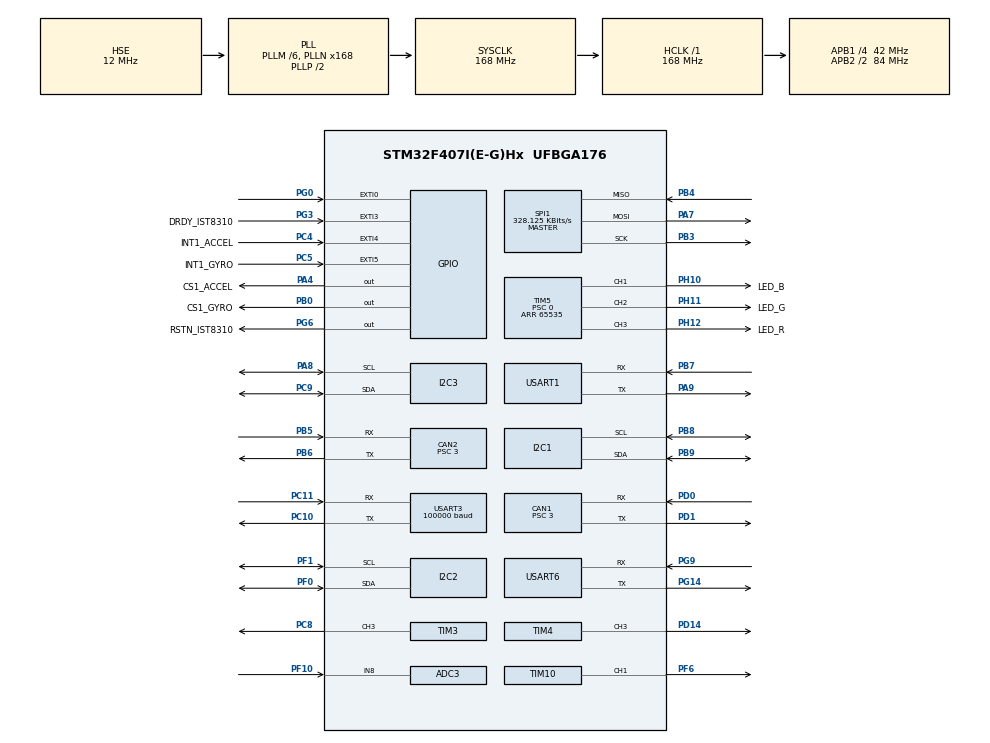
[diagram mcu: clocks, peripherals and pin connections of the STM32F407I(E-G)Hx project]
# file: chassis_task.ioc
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ADC1.Channel-0\#ChannelRegularConversion=ADC_CHANNEL_TEMPSENSOR
ADC1.NbrOfConversion=1
ADC1.NbrOfConversionFlag=1
ADC1.Rank-0\#ChannelRegularConversion=1
ADC1.SamplingTime-0\#ChannelRegularConversion=ADC_SAMPLETIME_3CYCLES
ADC1.master=1
ADC3.Channel-0\#ChannelRegularConversion=ADC_CHANNEL_8
ADC3.NbrOfConversionFlag=1
ADC3.Rank-0\#ChannelRegularConversion=1
ADC3.SamplingTime-0\#ChannelRegularConversion=ADC_SAMPLETIME_3CYCLES
CAN1.BS1=CAN_BS1_10TQ
CAN1.BS2=CAN_BS2_3TQ
CAN1.CalculateBaudRate=1000000
CAN1.CalculateTimeQuantum=71.42857142857143
CAN1.Prescaler=3
CAN2.BS1=CAN_BS1_10TQ
CAN2.BS2=CAN_BS2_3TQ
CAN2.CalculateBaudRate=1000000
CAN2.CalculateTimeQuantum=71.42857142857143
CAN2.Prescaler=3
Dma.Request0=SPI1_RX
Dma.Request1=SPI1_TX
Dma.Request2=USART3_RX
Dma.Request3=USART6_RX
Dma.Request4=USART6_TX
Dma.Request5=USART1_TX
Dma.SPI1_RX.0.Direction=DMA_PERIPH_TO_MEMORY
Dma.SPI1_RX.0.FIFOMode=DMA_FIFOMODE_DISABLE
Dma.SPI1_RX.0.Instance=DMA2_Stream2
Dma.SPI1_RX.0.MemDataAlignment=DMA_MDATAALIGN_BYTE
Dma.SPI1_RX.0.MemInc=DMA_MINC_ENABLE
Dma.SPI1_RX.0.Mode=DMA_NORMAL
Dma.SPI1_RX.0.PeriphDataAlignment=DMA_PDATAALIGN_BYTE
Dma.SPI1_RX.0.PeriphInc=DMA_PINC_DISABLE
Dma.SPI1_RX.0.Priority=DMA_PRIORITY_VERY_HIGH
Dma.SPI1_TX.1.Direction=DMA_MEMORY_TO_PERIPH
Dma.SPI1_TX.1.FIFOMode=DMA_FIFOMODE_DISABLE
Dma.SPI1_TX.1.Instance=DMA2_Stream3
Dma.SPI1_TX.1.MemDataAlignment=DMA_MDATAALIGN_BYTE
Dma.SPI1_TX.1.MemInc=DMA_MINC_ENABLE
Dma.SPI1_TX.1.Mode=DMA_NORMAL
Dma.SPI1_TX.1.PeriphDataAlignment=DMA_PDATAALIGN_BYTE
Dma.SPI1_TX.1.PeriphInc=DMA_PINC_DISABLE
Dma.SPI1_TX.1.Priority=DMA_PRIORITY_HIGH
Dma.USART1_TX.5.Direction=DMA_MEMORY_TO_PERIPH
Dma.USART1_TX.5.FIFOMode=DMA_FIFOMODE_DISABLE
Dma.USART1_TX.5.Instance=DMA2_Stream7
Dma.USART1_TX.5.MemDataAlignment=DMA_MDATAALIGN_BYTE
Dma.USART1_TX.5.MemInc=DMA_MINC_ENABLE
Dma.USART1_TX.5.Mode=DMA_NORMAL
Dma.USART1_TX.5.PeriphDataAlignment=DMA_PDATAALIGN_BYTE
Dma.USART1_TX.5.PeriphInc=DMA_PINC_DISABLE
Dma.USART1_TX.5.Priority=DMA_PRIORITY_MEDIUM
Dma.USART3_RX.2.Direction=DMA_PERIPH_TO_MEMORY
Dma.USART3_RX.2.FIFOMode=DMA_FIFOMODE_DISABLE
Dma.USART3_RX.2.Instance=DMA1_Stream1
Dma.USART3_RX.2.MemDataAlignment=DMA_MDATAALIGN_BYTE
Dma.USART3_RX.2.MemInc=DMA_MINC_ENABLE
Dma.USART3_RX.2.Mode=DMA_NORMAL
Dma.USART3_RX.2.PeriphDataAlignment=DMA_PDATAALIGN_BYTE
Dma.USART3_RX.2.PeriphInc=DMA_PINC_DISABLE
Dma.USART3_RX.2.Priority=DMA_PRIORITY_HIGH
Dma.USART6_RX.3.Direction=DMA_PERIPH_TO_MEMORY
Dma.USART6_RX.3.FIFOMode=DMA_FIFOMODE_DISABLE
Dma.USART6_RX.3.Instance=DMA2_Stream1
Dma.USART6_RX.3.MemDataAlignment=DMA_MDATAALIGN_BYTE
Dma.USART6_RX.3.MemInc=DMA_MINC_ENABLE
Dma.USART6_RX.3.Mode=DMA_NORMAL
Dma.USART6_RX.3.PeriphDataAlignment=DMA_PDATAALIGN_BYTE
Dma.USART6_RX.3.PeriphInc=DMA_PINC_DISABLE
Dma.USART6_RX.3.Priority=DMA_PRIORITY_HIGH
Dma.USART6_TX.4.Direction=DMA_MEMORY_TO_PERIPH
Dma.USART6_TX.4.FIFOMode=DMA_FIFOMODE_DISABLE
Dma.USART6_TX.4.Instance=DMA2_Stream6
Dma.USART6_TX.4.MemDataAlignment=DMA_MDATAALIGN_BYTE
Dma.USART6_TX.4.MemInc=DMA_MINC_ENABLE
Dma.USART6_TX.4.Mode=DMA_NORMAL
Dma.USART6_TX.4.PeriphDataAlignment=DMA_PDATAALIGN_BYTE
Dma.USART6_TX.4.PeriphInc=DMA_PINC_DISABLE
Dma.USART6_TX.4.Priority=DMA_PRIORITY_MEDIUM
FREERTOS.INCLUDE_eTaskGetState=1
FREERTOS.INCLUDE_pcTaskGetTaskName=1
FREERTOS.INCLUDE_uxTaskGetStackHighWaterMark=1
FREERTOS.INCLUDE_vTaskCleanUpResources=1
FREERTOS.INCLUDE_vTaskDelayUntil=1
FREERTOS.INCLUDE_xEventGroupSetBitFromISR=1
FREERTOS.INCLUDE_xQueueGetMutexHolder=1
FREERTOS.INCLUDE_xSemaphoreGetMutexHolder=1
FREERTOS.INCLUDE_xTaskAbortDelay=1
FREERTOS.INCLUDE_xTaskGetCurrentTaskHandle=1
FREERTOS.INCLUDE_xTaskGetHandle=1
FREERTOS.INCLUDE_xTimerPendFunctionCall=1
FREERTOS.Tasks01=test,0,128,test_task,As weak,NULL,Dynamic,NULL,NULL
FREERTOS.configTOTAL_HEAP_SIZE=24576
I2C1.I2C_Mode=I2C_Fast
I2C2.I2C_Mode=I2C_Fast
I2C3.I2C_Mode=I2C_Fast
Mcu.Family=STM32F4
Mcu.Name=STM32F407I(E-G)Hx
Mcu.Package=UFBGA176
NVIC.CAN1_RX0_IRQn=true\:6\:0\:true\:false\:true\:true\:true\:true\:true
NVIC.CAN2_RX0_IRQn=true\:6\:0\:true\:false\:true\:true\:true\:true\:true
NVIC.DMA1_Stream1_IRQn=true\:5\:0\:true\:false\:false\:true\:false\:false\:true
NVIC.DMA2_Stream1_IRQn=true\:5\:0\:false\:false\:true\:true\:false\:true\:true
NVIC.DMA2_Stream2_IRQn=true\:5\:0\:true\:false\:false\:true\:false\:true\:true
NVIC.DMA2_Stream3_IRQn=true\:5\:0\:true\:false\:false\:true\:false\:true\:true
NVIC.DMA2_Stream6_IRQn=true\:5\:0\:false\:false\:true\:true\:false\:true\:true
NVIC.DMA2_Stream7_IRQn=true\:5\:0\:false\:false\:true\:true\:false\:true\:true
NVIC.EXTI0_IRQn=true\:6\:0\:true\:false\:true\:true\:true\:true\:true
NVIC.EXTI3_IRQn=true\:5\:0\:true\:false\:true\:true\:true\:true\:true
NVIC.EXTI4_IRQn=true\:5\:0\:true\:false\:true\:true\:true\:true\:true
NVIC.EXTI9_5_IRQn=true\:5\:0\:true\:false\:true\:true\:true\:true\:true
NVIC.PriorityGroup=NVIC_PRIORITYGROUP_4
NVIC.USART1_IRQn=true\:5\:0\:false\:false\:true\:true\:true\:true\:true
NVIC.USART3_IRQn=true\:4\:0\:true\:false\:false\:false\:true\:true\:true
NVIC.USART6_IRQn=true\:5\:0\:false\:false\:true\:true\:true\:true\:true
PA13.Mode=Serial_Wire
PA13.Signal=SYS_JTMS-SWDIO
PA14.Mode=Serial_Wire
PA14.Signal=SYS_JTCK-SWCLK
PA4.GPIO_Label=CS1_ACCEL
PA4.GPIO_PuPd=GPIO_PULLUP
PA4.GPIO_Speed=GPIO_SPEED_FREQ_HIGH
PA4.PinState=GPIO_PIN_SET
PA4.Signal=GPIO_Output
PA7.GPIO_PuPd=GPIO_PULLUP
PA7.Mode=Full_Duplex_Master
PA7.Signal=SPI1_MOSI
PA8.GPIO_Pu=GPIO_PULLUP
PA8.Mode=I2C
PA8.Signal=I2C3_SCL
PA9.Mode=Asynchronous
PA9.Signal=USART1_TX
PB0.GPIO_Label=CS1_GYRO
PB0.GPIO_PuPd=GPIO_PULLUP
PB0.GPIO_Speed=GPIO_SPEED_FREQ_HIGH
PB0.PinState=GPIO_PIN_SET
PB0.Signal=GPIO_Output
PB3.GPIO_PuPd=GPIO_PULLUP
PB3.Mode=Full_Duplex_Master
PB3.Signal=SPI1_SCK
PB4.GPIO_PuPd=GPIO_PULLUP
PB4.Mode=Full_Duplex_Master
PB4.Signal=SPI1_MISO
PB5.Mode=CAN_Activate
PB5.Signal=CAN2_RX
PB6.Mode=CAN_Activate
PB6.Signal=CAN2_TX
PB7.Mode=Asynchronous
PB7.Signal=USART1_RX
PB8.Mode=I2C
PB8.Signal=I2C1_SCL
PB9.Mode=I2C
PB9.Signal=I2C1_SDA
PC10.Mode=Asynchronous
PC10.Signal=USART3_TX
PC11.Mode=Asynchronous
PC11.Signal=USART3_RX
PC4.GPIO_Label=INT1_ACCEL
PC4.GPIO_ModeDefaultEXTI=GPIO_MODE_IT_FALLING
PC4.GPIO_PuPd=GPIO_PULLUP
PC4.Signal=GPXTI4
PC5.GPIO_Label=INT1_GYRO
PC5.GPIO_ModeDefaultEXTI=GPIO_MODE_IT_FALLING
PC5.GPIO_PuPd=GPIO_PULLUP
PC5.Signal=GPXTI5
PC8.GPIO_PuPd=GPIO_PULLUP
PC8.GPIO_Speed=GPIO_SPEED_FREQ_HIGH
PC8.Signal=S_TIM3_CH3
PC9.GPIO_Pu=GPIO_PULLUP
PC9.Mode=I2C
PC9.Signal=I2C3_SDA
PD0.Mode=CAN_Activate
PD0.Signal=CAN1_RX
PD1.Mode=CAN_Activate
PD1.Signal=CAN1_TX
PD14.GPIO_PuPd=GPIO_PULLUP
PD14.GPIO_Speed=GPIO_SPEED_FREQ_HIGH
PD14.Signal=S_TIM4_CH3
PF0.GPIO_Pu=GPIO_PULLUP
PF0.Mode=I2C
PF0.Signal=I2C2_SDA
PF1.GPIO_Pu=GPIO_PULLUP
PF1.Mode=I2C
PF1.Signal=I2C2_SCL
PF10.Mode=IN8
PF10.Signal=ADC3_IN8
PF6.GPIO_PuPd=GPIO_PULLUP
PF6.GPIO_Speed=GPIO_SPEED_FREQ_HIGH
PF6.Signal=S_TIM10_CH1
PG0.GPIO_ModeDefaultEXTI=GPIO_MODE_IT_FALLING
PG0.GPIO_PuPd=GPIO_PULLUP
PG0.Signal=GPXTI0
PG14.Mode=Asynchronous
PG14.Signal=USART6_TX
PG3.GPIO_Label=DRDY_IST8310
PG3.GPIO_ModeDefaultEXTI=GPIO_MODE_IT_FALLING
PG3.GPIO_PuPd=GPIO_PULLUP
PG3.Signal=GPXTI3
PG6.GPIO_Label=RSTN_IST8310
PG6.GPIO_PuPd=GPIO_PULLUP
PG6.GPIO_Speed=GPIO_SPEED_FREQ_MEDIUM
PG6.PinState=GPIO_PIN_SET
PG6.Signal=GPIO_Output
PG9.Mode=Asynchronous
PG9.Signal=USART6_RX
PH0-OSC_IN.Mode=HSE-External-Oscillator
PH0-OSC_IN.Signal=RCC_OSC_IN
PH1-OSC_OUT.Mode=HSE-External-Oscillator
PH1-OSC_OUT.Signal=RCC_OSC_OUT
PH10.GPIO_Label=LED_B
PH10.GPIO_PuPd=GPIO_PULLUP
PH10.GPIO_Speed=GPIO_SPEED_FREQ_HIGH
PH10.Signal=S_TIM5_CH1
PH11.GPIO_Label=LED_G
PH11.GPIO_PuPd=GPIO_PULLUP
PH11.GPIO_Speed=GPIO_SPEED_FREQ_HIGH
PH11.Signal=S_TIM5_CH2
PH12.GPIO_Label=LED_R
PH12.GPIO_PuPd=GPIO_PULLUP
PH12.GPIO_Speed=GPIO_SPEED_FREQ_HIGH
PH12.Signal=S_TIM5_CH3
ProjectManager.HeapSize=0x2000
ProjectManager.StackSize=0x2000
ProjectManager.TargetToolchain=MDK-ARM V5
RCC.48MHZClocksFreq_Value=48000000
RCC.AHBFreq_Value=168000000
RCC.APB1CLKDivider=RCC_HCLK_DIV4
RCC.APB1Freq_Value=42000000
RCC.APB1TimFreq_Value=84000000
RCC.APB2CLKDivider=RCC_HCLK_DIV2
RCC.APB2Freq_Value=84000000
RCC.APB2TimFreq_Value=168000000
RCC.CortexFreq_Value=168000000
RCC.HCLKFreq_Value=168000000
RCC.HSE_VALUE=12000000
RCC.HSI_VALUE=16000000
RCC.LSE_VALUE=32768
RCC.PLLM=6
RCC.PLLN=168
RCC.PLLQ=7
RCC.PLLSourceVirtual=RCC_PLLSOURCE_HSE
RCC.RCC_RTC_Clock_SourceVirtual=RCC_RTCCLKSOURCE_HSE_DIV30
RCC.RCC_RTC_Clock_Source_FROM_HSE=RCC_RTCCLKSOURCE_HSE_DIV30
RCC.SYSCLKFreq_VALUE=168000000
RCC.SYSCLKSource=RCC_SYSCLKSOURCE_PLLCLK
RCC.VCOOutputFreq_Value=336000000
RTC.AsynchPrediv=124
RTC.SynchPrediv=3199
SH.S_TIM10_CH1.0=TIM10_CH1,PWM Generation1 CH1
SH.S_TIM3_CH3.0=TIM3_CH3,PWM Generation3 CH3
SH.S_TIM4_CH3.0=TIM4_CH3,PWM Generation3 CH3
SH.S_TIM5_CH1.0=TIM5_CH1,PWM Generation1 CH1
SH.S_TIM5_CH2.0=TIM5_CH2,PWM Generation2 CH2
SH.S_TIM5_CH3.0=TIM5_CH3,PWM Generation3 CH3
SPI1.BaudRatePrescaler=SPI_BAUDRATEPRESCALER_256
SPI1.CLKPhase=SPI_PHASE_2EDGE
SPI1.CLKPolarity=SPI_POLARITY_HIGH
SPI1.CalculateBaudRate=328.125 KBits/s
SPI1.Direction=SPI_DIRECTION_2LINES
SPI1.Mode=SPI_MODE_MASTER
SPI1.VirtualType=VM_MASTER
TIM10.Channel=TIM_CHANNEL_1
TIM10.Period=4999
TIM3.Channel-PWM\ Generation3\ CH3=TIM_CHANNEL_3
TIM3.Period=8399
TIM4.Channel-PWM\ Generation3\ CH3=TIM_CHANNEL_3
TIM4.Period=65535
TIM4.Prescaler=167
TIM5.Channel-PWM\ Generation1\ CH1=TIM_CHANNEL_1
TIM5.Channel-PWM\ Generation2\ CH2=TIM_CHANNEL_2
TIM5.Channel-PWM\ Generation3\ CH3=TIM_CHANNEL_3
TIM5.Period=65535
TIM5.Prescaler=0
TIM8.Period=19999
TIM8.Prescaler=167
USART1.VirtualMode=VM_ASYNC
USART3.BaudRate=100000
USART3.Parity=PARITY_EVEN
USART3.VirtualMode=VM_ASYNC
USART6.VirtualMode=VM_ASYNC
VP_ADC1_TempSens_Input.Mode=IN-TempSens
VP_ADC1_Vref_Input.Mode=IN-Vrefint
VP_FREERTOS_VS_CMSIS_V1.Mode=CMSIS_V1
VP_RTC_VS_RTC_Activate.Mode=RTC_Enabled
VP_TIM10_VS_ClockSourceINT.Mode=Enable_Timer
VP_TIM3_VS_ClockSourceINT.Mode=Internal
VP_TIM4_VS_ClockSourceINT.Mode=Internal
VP_TIM5_VS_ClockSourceINT.Mode=Internal
VP_TIM8_VS_ClockSourceINT.Mode=Internal
board=custom

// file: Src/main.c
/* USER CODE BEGIN Header */
/**
  ******************************************************************************
  * @file           : main.c
  * @brief          : Main program body
  ******************************************************************************
  * @attention
  *
  * <h2><center>&copy; Copyright (c) 2019 STMicroelectronics.
  * All rights reserved.</center></h2>
  *
  * This software component is licensed by ST under Ultimate Liberty license
  * SLA0044, the "License"; You may not use this file except in compliance with
  * the License. You may obtain a copy of the License at:
  *                             www.st.com/SLA0044
  *
  ******************************************************************************
  */
/* USER CODE END Header */
#include "main.h"
#include "cmsis_os.h"
#include "adc.h"
#include "can.h"
#include "dma.h"
#include "i2c.h"
#include "rtc.h"
#include "spi.h"
#include "tim.h"
#include "usart.h"
#include "gpio.h"

/* USER CODE BEGIN Includes */
#include "bsp_can.h"
#include "bsp_delay.h"
#include "remote_control.h"

#include "calibrate_task.h"
#include "chassis_task.h"
#include "detect_task.h"
#include "INS_task.h"
#include "led_flow_task.h"
/* USER CODE END Includes */

void SystemClock_Config(void);
void MX_FREERTOS_Init(void);

int main(void)
{

  /* MCU Configuration--------------------------------------------------------*/

  /* Reset of all peripherals, Initializes the Flash interface and the Systick. */

  HAL_Init();

  /* Configure the system clock */
  SystemClock_Config();

  /* Initialize all configured peripherals */
  MX_GPIO_Init();
  MX_DMA_Init();
  MX_CAN1_Init();
  MX_CAN2_Init();
  MX_SPI1_Init();
  MX_TIM4_Init();
  MX_TIM5_Init();
  MX_USART3_UART_Init();
  MX_TIM8_Init();
  MX_I2C3_Init();
  MX_RTC_Init();
  MX_TIM3_Init();
  MX_TIM10_Init();
  MX_USART1_UART_Init();
  MX_USART6_UART_Init();
  MX_ADC1_Init();
  MX_ADC3_Init();
  MX_I2C2_Init();
  MX_I2C1_Init();
  /* USER CODE BEGIN 2 */
    can_filter_init();
    delay_init();
    cali_param_init();
    remote_control_init();
  /* USER CODE END 2 */

  /* Call init function for freertos objects (in cmsis_os2.c) */
  MX_FREERTOS_Init();

  /* Start scheduler */
  osKernelStart();

  /* We should never get here as control is now taken by the scheduler */

  /* Infinite loop */
  while (1)
  {

  }
}

void SystemClock_Config(void)
{
  RCC_OscInitTypeDef RCC_OscInitStruct = {0};
  RCC_ClkInitTypeDef RCC_ClkInitStruct = {0};

  /** Configure the main internal regulator output voltage
  */
  __HAL_RCC_PWR_CLK_ENABLE();
  __HAL_PWR_VOLTAGESCALING_CONFIG(PWR_REGULATOR_VOLTAGE_SCALE1);

  /** Initializes the RCC Oscillators according to the specified parameters
  * in the RCC_OscInitTypeDef structure.
  */
  RCC_OscInitStruct.OscillatorType = RCC_OSCILLATORTYPE_HSE;
  RCC_OscInitStruct.HSEState = RCC_HSE_ON;
  RCC_OscInitStruct.PLL.PLLState = RCC_PLL_ON;
  RCC_OscInitStruct.PLL.PLLSource = RCC_PLLSOURCE_HSE;
  RCC_OscInitStruct.PLL.PLLM = 6;
  RCC_OscInitStruct.PLL.PLLN = 168;
  RCC_OscInitStruct.PLL.PLLP = RCC_PLLP_DIV2;
  RCC_OscInitStruct.PLL.PLLQ = 7;
  if (HAL_RCC_OscConfig(&RCC_OscInitStruct) != HAL_OK)
  {
    Error_Handler();
  }

  /** Initializes the CPU, AHB and APB buses clocks
  */
  RCC_ClkInitStruct.ClockType = RCC_CLOCKTYPE_HCLK|RCC_CLOCKTYPE_SYSCLK
                              |RCC_CLOCKTYPE_PCLK1|RCC_CLOCKTYPE_PCLK2;
  RCC_ClkInitStruct.SYSCLKSource = RCC_SYSCLKSOURCE_PLLCLK;
  RCC_ClkInitStruct.AHBCLKDivider = RCC_SYSCLK_DIV1;
  RCC_ClkInitStruct.APB1CLKDivider = RCC_HCLK_DIV4;
  RCC_ClkInitStruct.APB2CLKDivider = RCC_HCLK_DIV2;

  if (HAL_RCC_ClockConfig(&RCC_ClkInitStruct, FLASH_LATENCY_5) != HAL_OK)
  {
    Error_Handler();
  }
}

void Error_Handler(void)
{
}

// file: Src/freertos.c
/* USER CODE BEGIN Header */
/**
  ******************************************************************************
  * File Name          : freertos.c
  * Description        : Code for freertos applications
  ******************************************************************************
  * @attention
  *
  * <h2><center>&copy; Copyright (c) 2019 STMicroelectronics.
  * All rights reserved.</center></h2>
  *
  * This software component is licensed by ST under Ultimate Liberty license
  * SLA0044, the "License"; You may not use this file except in compliance with
  * the License. You may obtain a copy of the License at:
  *                             www.st.com/SLA0044
  *
  ******************************************************************************
  */
/* USER CODE END Header */

#include "FreeRTOS.h"
#include "task.h"
#include "main.h"
#include "cmsis_os.h"

/* USER CODE BEGIN Includes */

#include "calibrate_task.h"
#include "chassis_task.h"
#include "detect_task.h"
#include "INS_task.h"
#include "led_flow_task.h"
#include "gimbal_task.h"
#include "referee_usart_task.h"
#include "Can_task.h"
#include "CAN_receive.h"
#include "voltage_task.h"
#include "oled_task.h"
/* USER CODE END Includes */

/* USER CODE BEGIN PTD */

osThreadId calibrate_tast_handle;
osThreadId chassisTaskHandle;
osThreadId detect_handle;
osThreadId imuTaskHandle;
osThreadId led_RGB_flow_handle;
osThreadId gimbalTaskHandle;
osThreadId referee_usart_task_handle;
osThreadId can_task_handle;
osThreadId can_tx_task_handle;
osThreadId battery_voltage_handle;
osThreadId oled_handle;
/* USER CODE END PTD */

osThreadId testHandle;

void test_task(void const * argument);

void MX_FREERTOS_Init(void); /* (MISRA C 2004 rule 8.1) */

/* GetIdleTaskMemory prototype (linked to static allocation support) */
void vApplicationGetIdleTaskMemory( StaticTask_t **ppxIdleTaskTCBBuffer, StackType_t **ppxIdleTaskStackBuffer, uint32_t *pulIdleTaskStackSize );

/* GetTimerTaskMemory prototype (linked to static allocation support) */
void vApplicationGetTimerTaskMemory( StaticTask_t **ppxTimerTaskTCBBuffer, StackType_t **ppxTimerTaskStackBuffer, uint32_t *pulTimerTaskStackSize );

/* USER CODE BEGIN GET_IDLE_TASK_MEMORY */
static StaticTask_t xIdleTaskTCBBuffer;
static StackType_t xIdleStack[configMINIMAL_STACK_SIZE];

void vApplicationGetIdleTaskMemory( StaticTask_t **ppxIdleTaskTCBBuffer, StackType_t **ppxIdleTaskStackBuffer, uint32_t *pulIdleTaskStackSize )
{
  *ppxIdleTaskTCBBuffer = &xIdleTaskTCBBuffer;
  *ppxIdleTaskStackBuffer = &xIdleStack[0];
  *pulIdleTaskStackSize = configMINIMAL_STACK_SIZE;
  /* place for user code */
}
/* USER CODE END GET_IDLE_TASK_MEMORY */

/* USER CODE BEGIN GET_TIMER_TASK_MEMORY */
static StaticTask_t xTimerTaskTCBBuffer;
static StackType_t xTimerStack[configTIMER_TASK_STACK_DEPTH];

void vApplicationGetTimerTaskMemory( StaticTask_t **ppxTimerTaskTCBBuffer, StackType_t **ppxTimerTaskStackBuffer, uint32_t *pulTimerTaskStackSize )
{
  *ppxTimerTaskTCBBuffer = &xTimerTaskTCBBuffer;
  *ppxTimerTaskStackBuffer = &xTimerStack[0];
  *pulTimerTaskStackSize = configTIMER_TASK_STACK_DEPTH;
  /* place for user code */
}
/* USER CODE END GET_TIMER_TASK_MEMORY */

void MX_FREERTOS_Init(void) {

  /* USER CODE BEGIN RTOS_QUEUES */
  CAN_tx_queue_init();
  /* USER CODE END RTOS_QUEUES */

  /* Create the thread(s) */
  /* definition and creation of test */
  osThreadDef(test, test_task, osPriorityNormal, 0, 128);
  testHandle = osThreadCreate(osThread(test), NULL);

  /* USER CODE BEGIN RTOS_THREADS */
  /* add threads, ... */
  osThreadDef(cali, calibrate_task, osPriorityNormal, 0, 512);
  calibrate_tast_handle = osThreadCreate(osThread(cali), NULL);

  osThreadDef(ChassisTask, chassis_task, osPriorityAboveNormal, 0, 512);
  chassisTaskHandle = osThreadCreate(osThread(ChassisTask), NULL);

  osThreadDef(DETECT, detect_task, osPriorityNormal, 0, 256);
  detect_handle = osThreadCreate(osThread(DETECT), NULL);

  osThreadDef(imuTask, INS_task, osPriorityRealtime, 0, 1024);
  imuTaskHandle = osThreadCreate(osThread(imuTask), NULL);

  osThreadDef(led, led_RGB_flow_task, osPriorityNormal, 0, 256);
  led_RGB_flow_handle = osThreadCreate(osThread(led), NULL);

  osThreadDef(gimbalTask, gimbal_task, osPriorityHigh, 0, 512);
  gimbalTaskHandle = osThreadCreate(osThread(gimbalTask), NULL);

  osThreadDef(REFEREE, referee_usart_task, osPriorityNormal, 0, 128);
  referee_usart_task_handle = osThreadCreate(osThread(REFEREE), NULL);

  osThreadDef(CAN_TX_TASK, CAN_tx_task, osPriorityHigh, 0, 256);
  can_tx_task_handle = osThreadCreate(osThread(CAN_TX_TASK), NULL);

  osThreadDef(CAN_TASK, Can_task, osPriorityNormal, 0, 128);
  can_task_handle = osThreadCreate(osThread(CAN_TASK), NULL);

  osThreadDef(BATTERY_VOLTAGE, battery_voltage_task, osPriorityNormal, 0, 128);
  battery_voltage_handle = osThreadCreate(osThread(BATTERY_VOLTAGE), NULL);

  osThreadDef(OLED, oled_task, osPriorityNormal, 0, 256);
  oled_handle = osThreadCreate(osThread(OLED), NULL);

  /* Disabled: old super capacitor 0x210 set-power protocol conflicts with 0x061 control frames. */
  /* USER CODE END RTOS_THREADS */

}

__weak void test_task(void const * argument)
{
  for(;;)
  {
    osDelay(1);
  }
}
